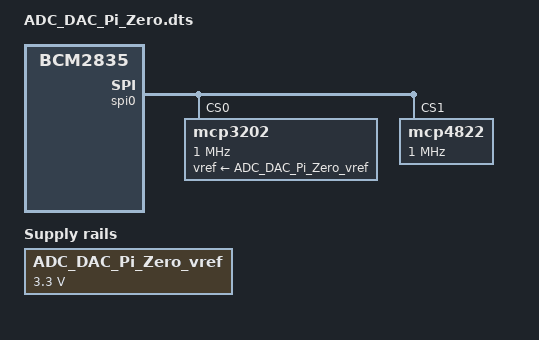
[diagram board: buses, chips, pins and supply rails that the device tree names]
// Overlay for the AB Electronics ADC DAC Pi Zero
// https://www.abelectronics.co.uk/p/74/adc-dac-pi-zero

/dts-v1/;
/plugin/;

/ {
	compatible = "brcm,bcm2835";

	// Create a fictitious voltage regulator for the reference

	fragment@0 {
		target-path = "/";
		__overlay__ {
			ADC_DAC_Pi_Zero_vref: ADC_DAC_Pi_Zero-vref {
				compatible = "regulator-fixed";
				regulator-name = "ADC_DAC_Pi_Zero";
				regulator-min-microvolt = <3300000>;
				regulator-max-microvolt = <3300000>;
				regulator-always-on;
				status = "okay";
 			};
		};
	};

	// Enable MCP3202 ADC on SPI chip 0 slave select 0 (GPIO8)

	fragment@1 {
		target = <&spi0>;
		__overlay__ {
			#address-cells = <1>;
			#size-cells = <0>;
			status = "okay";

			mcp3202: mcp3202@0 {
				compatible = "mcp3202";
				reg = <0>;
				spi-max-frequency = <1000000>;
				vref-supply = <&ADC_DAC_Pi_Zero_vref>;
			};
		};
	};

	// Enable MCP4822 DAC on SPI chip 0 slave select 1 (GPIO7)

	fragment@2 {
		target = <&spi0>;
		__overlay__ {
			#address-cells = <1>;
			#size-cells = <0>;
			status = "okay";

			mcp4822: mcp4822@1 {
				compatible = "mcp4822";
				reg = <1>;
				spi-max-frequency = <1000000>;
			};
		};
	};

	// Define parameters to calibrate the reference voltage

	__overrides__ {
		min = <&ADC_DAC_Pi_Zero_vref>, "regulator-min-microvolt:0";
		max = <&ADC_DAC_Pi_Zero_vref>, "regulator-max-microvolt:0";
	};
};
